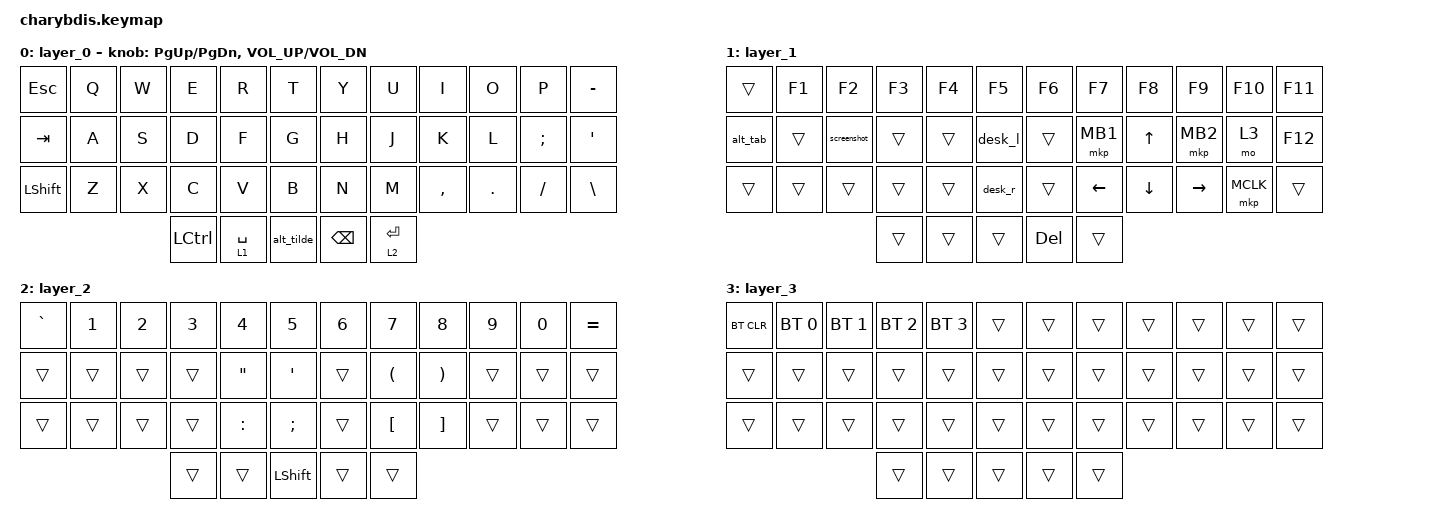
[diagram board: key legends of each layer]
#include <dt-bindings/zmk/mouse.h>
#include <behaviors.dtsi>
#include <dt-bindings/zmk/bt.h>
#include <dt-bindings/zmk/keys.h>
#include <dt-bindings/zmk/pointing.h>
#include <dt-bindings/zmk/rgb.h>

&lt {
    tapping-term-ms = <200>;
    flavor = "balanced";
    quick-tap-ms = <150>;
};

/ {
    macros {
        alt_tilde: alt_tilde_macro {
            compatible = "zmk,behavior-macro";
            label = "ALT_TILDE";
            #binding-cells = <0>;
            bindings =
                <&macro_press>,
                <&kp LALT>,
                <&macro_tap>,
                <&kp GRAVE>,
                <&macro_release>,
                <&kp LALT>;
        };

        // ウィンドウを切り替える (Alt + Tab) マクロ
        alt_tab: alt_tab_macro {
            compatible = "zmk,behavior-macro";
            label = "ALT_TAB";
            #binding-cells = <0>;
            bindings =
                <&macro_press>,
                <&kp LALT>,
                <&macro_tap>,
                <&kp TAB>,
                <&macro_release>,
                <&kp LALT>;
        };

        // 仮想デスクトップを左に切り替えるマクロ

        desk_l: desk_l_macro {
            compatible = "zmk,behavior-macro";
            label = "DESK_L";
            #binding-cells = <0>;
            bindings =
                <&macro_press>,
                <&kp LCTRL &kp LGUI>,
                <&macro_tap>,
                <&kp LEFT>,
                <&macro_release>,
                <&kp LCTRL &kp LGUI>;
        };

        // 仮想デスクトップを右に切り替えるマクロ

        desk_r: desk_r_macro {
            compatible = "zmk,behavior-macro";
            label = "DESK_R";
            #binding-cells = <0>;
            bindings =
                <&macro_press>,
                <&kp LCTRL &kp LGUI>,
                <&macro_tap>,
                <&kp RIGHT>,
                <&macro_release>,
                <&kp LCTRL &kp LGUI>;
        };
        screenshot: screenshot_macro {
            compatible = "zmk,behavior-macro";
            label = "SCREENSHOT";
            #binding-cells = <0>;
            bindings =
                <&macro_press>,
                <&kp LGUI &kp LSHFT>,
                <&macro_tap>,
                <&kp S>,
                <&macro_release>,
                <&kp LGUI &kp LSHFT>;
        };
    };

    combos {
        compatible = "zmk,combos";

        lwin {
            bindings = <&kp LGUI>;
            key-positions = <26 27>;
        };

        lalt {
            bindings = <&kp LALT>;
            key-positions = <27 28>;
        };
    };

    keymap {
        compatible = "zmk,keymap";

        layer_0 {
            bindings = <
&kp ESC         &kp Q  &kp W  &kp E      &kp R        &kp T         &kp Y          &kp U        &kp I      &kp O    &kp P          &kp MINUS
&kp TAB         &kp A  &kp S  &kp D      &kp F        &kp G         &kp H          &kp J        &kp K      &kp L    &kp SEMICOLON  &kp SINGLE_QUOTE
&kp LEFT_SHIFT  &kp Z  &kp X  &kp C      &kp V        &kp B         &kp N          &kp M        &kp COMMA  &kp DOT  &kp SLASH      &kp BACKSLASH
                              &kp LCTRL  &lt 1 SPACE  &alt_tilde    &kp BACKSPACE  &lt 2 ENTER
            >;

            sensor-bindings = <&inc_dec_kp PG_UP PG_DN &inc_dec_kp C_VOL_UP C_VOL_DN>;
        };

        layer_1 {
            bindings = <
&trans    &kp F1  &kp F2       &kp F3  &kp F4  &kp F5     &kp F6      &kp F7    &kp F8        &kp F9     &kp F10    &kp F11
&alt_tab  &trans  &screenshot  &trans  &trans  &desk_l    &trans      &mkp MB1  &kp UP_ARROW  &mkp MB2   &mo 3      &kp F12
&trans    &trans  &trans       &trans  &trans  &desk_r    &trans      &kp LEFT  &kp DOWN      &kp RIGHT  &mkp MCLK  &trans
                             &trans  &trans  &trans     &kp DELETE  &trans
            >;
        };

        layer_2 {
            bindings = <
&kp GRAVE  &kp NUMBER_1  &kp NUMBER_2  &kp NUMBER_3  &kp NUMBER_4       &kp NUMBER_5      &kp NUMBER_6  &kp NUMBER_7          &kp NUMBER_8           &kp NUMBER_9  &kp NUMBER_0  &kp EQUAL
&trans     &trans        &trans        &trans        &kp DOUBLE_QUOTES  &kp SQT           &trans        &kp LEFT_PARENTHESIS  &kp RIGHT_PARENTHESIS  &trans        &trans        &trans
&trans     &trans        &trans        &trans        &kp COLON          &kp SEMICOLON     &trans        &kp LEFT_BRACKET      &kp RIGHT_BRACKET      &trans        &trans        &trans
                                       &trans        &trans             &kp LEFT_SHIFT    &trans        &trans
            >;
        };

        layer_3 {
            bindings = <
&bt BT_CLR  &bt BT_SEL 0  &bt BT_SEL 1  &bt BT_SEL 2  &bt BT_SEL 3  &trans    &trans  &trans  &trans  &trans  &trans  &trans
&trans      &trans        &trans        &trans        &trans        &trans    &trans  &trans  &trans  &trans  &trans  &trans
&trans      &trans        &trans        &trans        &trans        &trans    &trans  &trans  &trans  &trans  &trans  &trans
                                        &trans        &trans        &trans    &trans  &trans
            >;
        };

        /* layer_2 {
            bindings = <
&none  &none   &none    &none   &none         &none         &kp N1         &none         &none     &none  &none   &to 0
&none  &none   &none    &none   &none         &none         &none         &none          &rgb_ug RGB_BRD &rgb_ug RGB_BRI  &rgb_ug RGB_EFF   &rgb_ug RGB_TOG
&none  &none   &none    &none   &none         &none         &none         &mkp LCLK     &mkp RCLK  &none  &none   &none
&none  &none   &none    &none   &bt BT_NXT  &bt BT_CLR    &none         &none         &none     &none  &none   &none
                                   &none         &none         &none         &none         &none
                                                 &none         &none         &none
            >;
       
            
        };

       Mouse {
            bindings = <
&none        &none         &none         &none         &none      &none         &none       &none      &none         &none         &none         &none
&none        &bt BT_SEL 0  &bt BT_SEL 1  &bt BT_SEL 3  &none      &bt BT_CLR    &bt BT_CLR  &none      &bt BT_SEL 2  &bt BT_SEL 1  &bt BT_SEL 0  &none
&none        &trans        &trans        &mkp MCLK     &trans     &none         &none       &trans     &mkp MCLK     &trans        &trans        &none
&bootloader  &trans        &mkp RCLK     &mo 4         &mkp LCLK  &mo 5         &mo 5       &mkp LCLK  &mo 4         &mkp RCLK     &trans        &bootloader
                                         &mo 5         &mkp LCLK  &mkp RCLK     &mkp RCLK   &mkp LCLK
                                                       &none      &trans        &trans
            >;

            
        };

        layer_4 {
            bindings = <
&trans  &trans  &trans     &trans     &trans     &trans       &trans     &trans     &trans     &trans     &trans  &trans
&trans  &trans  &trans     &trans     &trans     &trans       &trans     &trans     &trans     &trans     &trans  &trans
&trans  &trans  &trans     &mkp MCLK  &trans     &trans       &trans     &trans     &mkp MCLK  &trans     &trans  &trans
&trans  &trans  &mkp RCLK  &trans     &mkp LCLK  &trans       &trans     &mkp LCLK  &trans     &mkp RCLK  &trans  &trans
                           &trans     &mkp LCLK  &mkp RCLK    &mkp RCLK  &mkp LCLK
                                      &trans     &trans       &trans
            >;
                
                
               
        };

        layer_5 {
            bindings = <
&trans  &trans  &trans     &trans     &trans     &trans       &trans     &trans     &trans     &trans     &trans  &trans
&trans  &trans  &trans     &trans     &trans     &trans       &trans     &trans     &trans     &trans     &trans  &trans
&trans  &trans  &trans     &mkp MCLK  &trans     &trans       &trans     &trans     &mkp MCLK  &trans     &trans  &trans
&trans  &trans  &mkp RCLK  &trans     &mkp LCLK  &trans       &trans     &mkp LCLK  &trans     &mkp RCLK  &trans  &trans
                           &trans     &mkp LCLK  &mkp RCLK    &mkp RCLK  &mkp LCLK
                                      &trans     &trans       &trans
            >;
                
                
        };*/
    };
};
